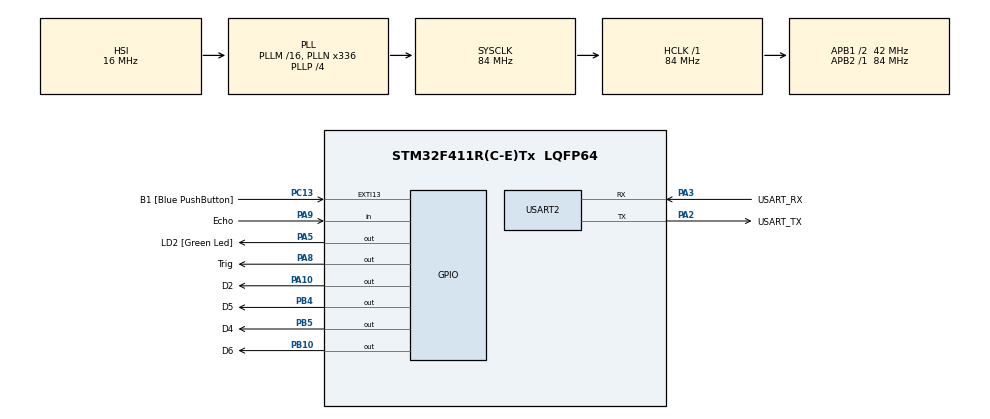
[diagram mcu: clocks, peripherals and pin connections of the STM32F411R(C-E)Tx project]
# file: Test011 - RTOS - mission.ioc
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FREERTOS.BinarySemaphores01=myBinarySem01,Dynamic,NULL
FREERTOS.Tasks01=myTask01,0,128,StartDefaultTask,Default,NULL,Dynamic,NULL,NULL;myTask02,-2,128,StartTask02,Default,NULL,Dynamic,NULL,NULL;myTask03,-3,128,StartTask03,Default,NULL,Dynamic,NULL,NULL;myTask04,-1,128,StartTask04,Default,NULL,Dynamic,NULL,NULL
FREERTOS.configUSE_NEWLIB_REENTRANT=1
Mcu.Family=STM32F4
Mcu.Name=STM32F411R(C-E)Tx
Mcu.Package=LQFP64
NVIC.EXTI15_10_IRQn=true\:5\:0\:false\:false\:true\:true\:true\:true\:true
NVIC.PriorityGroup=NVIC_PRIORITYGROUP_4
NVIC.TIM1_UP_TIM10_IRQn=true\:15\:0\:false\:false\:true\:false\:false\:true\:true
NVIC.TimeBase=TIM1_UP_TIM10_IRQn
NVIC.TimeBaseIP=TIM10
PA10.GPIO_Label=D2
PA10.Signal=GPIO_Output
PA13.GPIO_Label=TMS
PA13.Mode=Serial_Wire
PA13.Signal=SYS_JTMS-SWDIO
PA14.GPIO_Label=TCK
PA14.Mode=Serial_Wire
PA14.Signal=SYS_JTCK-SWCLK
PA2.GPIO_Label=USART_TX
PA2.Mode=Asynchronous
PA2.Signal=USART2_TX
PA3.GPIO_Label=USART_RX
PA3.Mode=Asynchronous
PA3.Signal=USART2_RX
PA5.GPIO_Label=LD2 [Green Led]
PA5.Signal=GPIO_Output
PA8.GPIO_Label=Trig
PA8.Signal=GPIO_Output
PA9.GPIO_Label=Echo
PA9.Signal=GPIO_Input
PB10.GPIO_Label=D6
PB10.Signal=GPIO_Output
PB3.GPIO_Label=SWO
PB3.Signal=SYS_JTDO-SWO
PB4.GPIO_Label=D5
PB4.Signal=GPIO_Output
PB5.GPIO_Label=D4
PB5.Signal=GPIO_Output
PC13-ANTI_TAMP.GPIO_Label=B1 [Blue PushButton]
PC13-ANTI_TAMP.GPIO_ModeDefaultEXTI=GPIO_MODE_IT_FALLING
PC13-ANTI_TAMP.Signal=GPXTI13
PC14-OSC32_IN.Mode=LSE-External-Oscillator
PC14-OSC32_IN.Signal=RCC_OSC32_IN
PC15-OSC32_OUT.Mode=LSE-External-Oscillator
PC15-OSC32_OUT.Signal=RCC_OSC32_OUT
PH0\ -\ OSC_IN.Mode=HSE-External-Clock-Source
PH0\ -\ OSC_IN.Signal=RCC_OSC_IN
PH1\ -\ OSC_OUT.Mode=HSE-External-Clock-Source
PH1\ -\ OSC_OUT.Signal=RCC_OSC_OUT
ProjectManager.HeapSize=0x200
ProjectManager.StackSize=0x400
ProjectManager.TargetToolchain=STM32CubeIDE
RCC.48MHZClocksFreq_Value=84000000
RCC.AHBFreq_Value=84000000
RCC.APB1CLKDivider=RCC_HCLK_DIV2
RCC.APB1Freq_Value=42000000
RCC.APB1TimFreq_Value=84000000
RCC.APB2Freq_Value=84000000
RCC.APB2TimFreq_Value=84000000
RCC.CortexFreq_Value=84000000
RCC.FLatency-AdvancedSettings=FLASH_LATENCY_2
RCC.HCLKFreq_Value=84000000
RCC.HSE_VALUE=8000000
RCC.HSI_VALUE=16000000
RCC.PLLN=336
RCC.PLLP=RCC_PLLP_DIV4
RCC.SYSCLKFreq_VALUE=84000000
RCC.SYSCLKSource=RCC_SYSCLKSOURCE_PLLCLK
RCC.VCOOutputFreq_Value=336000000
TIM2.Prescaler=84-1
USART2.VirtualMode=VM_ASYNC
VP_FREERTOS_VS_CMSIS_V1.Mode=CMSIS_V1
VP_SYS_VS_tim10.Mode=TIM10
VP_TIM2_VS_ClockSourceINT.Mode=Internal
board=NUCLEO-F411RE

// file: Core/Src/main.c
/* USER CODE BEGIN Header */
/**
  ******************************************************************************
  * @file           : main.c
  * @brief          : Main program body
  ******************************************************************************
  * @attention
  *
  * Copyright (c) 2025 STMicroelectronics.
  * All rights reserved.
  *
  * This software is licensed under terms that can be found in the LICENSE file
  * in the root directory of this software component.
  * If no LICENSE file comes with this software, it is provided AS-IS.
  *
  ******************************************************************************
  */
/* USER CODE END Header */
#include "main.h"
#include "cmsis_os.h"

TIM_HandleTypeDef htim2;

UART_HandleTypeDef huart2;

osThreadId myTask01Handle;
osThreadId myTask02Handle;
osThreadId myTask03Handle;
osThreadId myTask04Handle;
osSemaphoreId myBinarySem01Handle;

void SystemClock_Config(void);
static void MX_GPIO_Init(void);
static void MX_USART2_UART_Init(void);
static void MX_TIM2_Init(void);
void StartDefaultTask(void const * argument);
void StartTask02(void const * argument);
void StartTask03(void const * argument);
void StartTask04(void const * argument);

/* USER CODE BEGIN 0 */
volatile int angle = 0;
volatile double dist = 0;

/*void HAL_GPIO_EXTI_Callback(uint16_t GPIO_Pin)
{
	osSemaphoreRelease(myBinarySem01Handle);
}*/

void microDelay(int us) //us: micro second
{
	/*int t1 = htim2.Instance->CNT;
	while((htim2.Instance->CNT - t1)<us));*/

	htim2.Instance->CNT = 0;
	while(htim2.Instance->CNT <us);
}
void Trigger()
{
  HAL_GPIO_WritePin(Trig_GPIO_Port, Trig_Pin, 0);
  microDelay(10);
  HAL_GPIO_WritePin(Trig_GPIO_Port, Trig_Pin, 1);
  microDelay(10);
  HAL_GPIO_WritePin(Trig_GPIO_Port, Trig_Pin, 0);
  microDelay(10);
}

double Distance()
{
  int t0 = 0, t1, t2;
  htim2.Instance->CNT = 0;
  Trigger();
  //until wait echo high

  while(HAL_GPIO_ReadPin(Echo_GPIO_Port, Echo_Pin)==0);
  	  t1 = htim2.Instance->CNT;

  while(HAL_GPIO_ReadPin(Echo_GPIO_Port, Echo_Pin)==1);
  	  t2 = htim2.Instance->CNT;
  /*while(HAL_GPIO_ReadPin(Echo_GPIO_Port, Echo_Pin)==0)
    {
  	  if(htim2.Instance->CNT > 30000)return -1;//TimeOut

    }
    t1 = htim2.Instance->CNT;

 while(HAL_GPIO_ReadPin(Echo_GPIO_Port, Echo_Pin)==1)
	{
		  if((htim2.Instance->CNT )> (t1 + 30000))return -1;//TimeOut

	 }
    t2 = htim2.Instance->CNT;
*/
  double dist = (t2 - t1) * 0.17;
  return dist;
}
/* USER CODE END 0 */

int main(void)
{

  /* MCU Configuration--------------------------------------------------------*/

  /* Reset of all peripherals, Initializes the Flash interface and the Systick. */
  HAL_Init();

  /* Configure the system clock */
  SystemClock_Config();

  /* Initialize all configured peripherals */
  MX_GPIO_Init();
  MX_USART2_UART_Init();
  MX_TIM2_Init();

  /* Create the semaphores(s) */
  /* definition and creation of myBinarySem01 */
  osSemaphoreDef(myBinarySem01);
  myBinarySem01Handle = osSemaphoreCreate(osSemaphore(myBinarySem01), 1);

  /* Create the thread(s) */
  /* definition and creation of myTask01 */
  osThreadDef(myTask01, StartDefaultTask, osPriorityNormal, 0, 128);
  myTask01Handle = osThreadCreate(osThread(myTask01), NULL);

  /* definition and creation of myTask02 */
  osThreadDef(myTask02, StartTask02, osPriorityLow, 0, 128);
  myTask02Handle = osThreadCreate(osThread(myTask02), NULL);

  /* definition and creation of myTask03 */
  osThreadDef(myTask03, StartTask03, osPriorityIdle, 0, 128);
  myTask03Handle = osThreadCreate(osThread(myTask03), NULL);

  /* definition and creation of myTask04 */
  osThreadDef(myTask04, StartTask04, osPriorityBelowNormal, 0, 128);
  myTask04Handle = osThreadCreate(osThread(myTask04), NULL);

  /* USER CODE BEGIN RTOS_THREADS */
  /* add threads, ... */
  ProgramStart("RTOS Mission");
  HAL_TIM_Base_Start(&htim2);
  osSemaphoreRelease(myBinarySem01Handle);

  /* USER CODE END RTOS_THREADS */

  /* Start scheduler */
  osKernelStart();

  /* We should never get here as control is now taken by the scheduler */
  /* Infinite loop */
  while (1)
  {

  }
}

void SystemClock_Config(void)
{
  RCC_OscInitTypeDef RCC_OscInitStruct = {0};
  RCC_ClkInitTypeDef RCC_ClkInitStruct = {0};

  /** Configure the main internal regulator output voltage
  */
  __HAL_RCC_PWR_CLK_ENABLE();
  __HAL_PWR_VOLTAGESCALING_CONFIG(PWR_REGULATOR_VOLTAGE_SCALE1);

  /** Initializes the RCC Oscillators according to the specified parameters
  * in the RCC_OscInitTypeDef structure.
  */
  RCC_OscInitStruct.OscillatorType = RCC_OSCILLATORTYPE_HSI;
  RCC_OscInitStruct.HSIState = RCC_HSI_ON;
  RCC_OscInitStruct.HSICalibrationValue = RCC_HSICALIBRATION_DEFAULT;
  RCC_OscInitStruct.PLL.PLLState = RCC_PLL_ON;
  RCC_OscInitStruct.PLL.PLLSource = RCC_PLLSOURCE_HSI;
  RCC_OscInitStruct.PLL.PLLM = 16;
  RCC_OscInitStruct.PLL.PLLN = 336;
  RCC_OscInitStruct.PLL.PLLP = RCC_PLLP_DIV4;
  RCC_OscInitStruct.PLL.PLLQ = 4;
  if (HAL_RCC_OscConfig(&RCC_OscInitStruct) != HAL_OK)
  {
    Error_Handler();
  }

  /** Initializes the CPU, AHB and APB buses clocks
  */
  RCC_ClkInitStruct.ClockType = RCC_CLOCKTYPE_HCLK|RCC_CLOCKTYPE_SYSCLK
                              |RCC_CLOCKTYPE_PCLK1|RCC_CLOCKTYPE_PCLK2;
  RCC_ClkInitStruct.SYSCLKSource = RCC_SYSCLKSOURCE_PLLCLK;
  RCC_ClkInitStruct.AHBCLKDivider = RCC_SYSCLK_DIV1;
  RCC_ClkInitStruct.APB1CLKDivider = RCC_HCLK_DIV2;
  RCC_ClkInitStruct.APB2CLKDivider = RCC_HCLK_DIV1;

  if (HAL_RCC_ClockConfig(&RCC_ClkInitStruct, FLASH_LATENCY_2) != HAL_OK)
  {
    Error_Handler();
  }
}

static void MX_TIM2_Init(void)
{

  TIM_ClockConfigTypeDef sClockSourceConfig = {0};
  TIM_MasterConfigTypeDef sMasterConfig = {0};

  htim2.Instance = TIM2;
  htim2.Init.Prescaler = 84-1;
  htim2.Init.CounterMode = TIM_COUNTERMODE_UP;
  htim2.Init.Period = 4294967295;
  htim2.Init.ClockDivision = TIM_CLOCKDIVISION_DIV1;
  htim2.Init.AutoReloadPreload = TIM_AUTORELOAD_PRELOAD_DISABLE;
  if (HAL_TIM_Base_Init(&htim2) != HAL_OK)
  {
    Error_Handler();
  }
  sClockSourceConfig.ClockSource = TIM_CLOCKSOURCE_INTERNAL;
  if (HAL_TIM_ConfigClockSource(&htim2, &sClockSourceConfig) != HAL_OK)
  {
    Error_Handler();
  }
  sMasterConfig.MasterOutputTrigger = TIM_TRGO_RESET;
  sMasterConfig.MasterSlaveMode = TIM_MASTERSLAVEMODE_DISABLE;
  if (HAL_TIMEx_MasterConfigSynchronization(&htim2, &sMasterConfig) != HAL_OK)
  {
    Error_Handler();
  }

}

static void MX_USART2_UART_Init(void)
{

  huart2.Instance = USART2;
  huart2.Init.BaudRate = 115200;
  huart2.Init.WordLength = UART_WORDLENGTH_8B;
  huart2.Init.StopBits = UART_STOPBITS_1;
  huart2.Init.Parity = UART_PARITY_NONE;
  huart2.Init.Mode = UART_MODE_TX_RX;
  huart2.Init.HwFlowCtl = UART_HWCONTROL_NONE;
  huart2.Init.OverSampling = UART_OVERSAMPLING_16;
  if (HAL_UART_Init(&huart2) != HAL_OK)
  {
    Error_Handler();
  }

}

static void MX_GPIO_Init(void)
{
  GPIO_InitTypeDef GPIO_InitStruct = {0};

  /* GPIO Ports Clock Enable */
  __HAL_RCC_GPIOC_CLK_ENABLE();
  __HAL_RCC_GPIOH_CLK_ENABLE();
  __HAL_RCC_GPIOA_CLK_ENABLE();
  __HAL_RCC_GPIOB_CLK_ENABLE();

  /*Configure GPIO pin Output Level */
  HAL_GPIO_WritePin(GPIOA, LD2_Pin|Trig_Pin|D2_Pin, GPIO_PIN_RESET);

  /*Configure GPIO pin Output Level */
  HAL_GPIO_WritePin(GPIOB, D6_Pin|D5_Pin|D4_Pin, GPIO_PIN_RESET);

  /*Configure GPIO pin : B1_Pin */
  GPIO_InitStruct.Pin = B1_Pin;
  GPIO_InitStruct.Mode = GPIO_MODE_IT_FALLING;
  GPIO_InitStruct.Pull = GPIO_NOPULL;
  HAL_GPIO_Init(B1_GPIO_Port, &GPIO_InitStruct);

  /*Configure GPIO pins : LD2_Pin Trig_Pin D2_Pin */
  GPIO_InitStruct.Pin = LD2_Pin|Trig_Pin|D2_Pin;
  GPIO_InitStruct.Mode = GPIO_MODE_OUTPUT_PP;
  GPIO_InitStruct.Pull = GPIO_NOPULL;
  GPIO_InitStruct.Speed = GPIO_SPEED_FREQ_LOW;
  HAL_GPIO_Init(GPIOA, &GPIO_InitStruct);

  /*Configure GPIO pins : D6_Pin D5_Pin D4_Pin */
  GPIO_InitStruct.Pin = D6_Pin|D5_Pin|D4_Pin;
  GPIO_InitStruct.Mode = GPIO_MODE_OUTPUT_PP;
  GPIO_InitStruct.Pull = GPIO_NOPULL;
  GPIO_InitStruct.Speed = GPIO_SPEED_FREQ_LOW;
  HAL_GPIO_Init(GPIOB, &GPIO_InitStruct);

  /*Configure GPIO pin : Echo_Pin */
  GPIO_InitStruct.Pin = Echo_Pin;
  GPIO_InitStruct.Mode = GPIO_MODE_INPUT;
  GPIO_InitStruct.Pull = GPIO_NOPULL;
  HAL_GPIO_Init(Echo_GPIO_Port, &GPIO_InitStruct);

  /* EXTI interrupt init*/
  HAL_NVIC_SetPriority(EXTI15_10_IRQn, 5, 0);
  HAL_NVIC_EnableIRQ(EXTI15_10_IRQn);

}

void StartDefaultTask(void const * argument)
{
  /* USER CODE BEGIN 5 */
  /* Infinite loop */
  for(;;)
  {
	  if(osSemaphoreWait(myBinarySem01Handle , 0)==osOK)
	  {
		  printf("Task 01 (Normal)Ultra Sonic Sensor \r\n");
		  dist = Distance();
		  if(dist > 1000)
			  angle = 90;
		  else if((dist>100)&&(dist<1000))
			  angle = 60;
		  else if (dist<100)
			  angle = 30;

		  osSemaphoreRelease(myBinarySem01Handle);
	  }
    osDelay(1);
  }
  /* USER CODE END 5 */
}

void StartTask02(void const * argument)
{
  /* USER CODE BEGIN StartTask02 */
  /* Infinite loop */
  for(;;)
  {
	  if(osSemaphoreWait(myBinarySem01Handle , 0)==osOK)
	  {
		  printf("Task 02 (Low) Step Motor \r\n");
		  for(int i = 0; i < (512 * angle /360); i++)
		  {
			  // Step 1
			  //printf("i : %d \r\n" , i);
			  HAL_GPIO_WritePin(D2_GPIO_Port,D2_Pin,1);

			  HAL_GPIO_WritePin(D4_GPIO_Port,D4_Pin,0);

			  HAL_GPIO_WritePin(D5_GPIO_Port,D5_Pin,0);

			  HAL_GPIO_WritePin(D6_GPIO_Port,D6_Pin,0);

			  HAL_Delay(2);

			  //step2

			  HAL_GPIO_WritePin(D2_GPIO_Port,D2_Pin,0);

			  HAL_GPIO_WritePin(D4_GPIO_Port,D4_Pin,1);

			  HAL_GPIO_WritePin(D5_GPIO_Port,D5_Pin,0);

			  HAL_GPIO_WritePin(D6_GPIO_Port,D6_Pin,0);

			  HAL_Delay(2);

			  //step3

			  HAL_GPIO_WritePin(D2_GPIO_Port,D2_Pin,0);

			  HAL_GPIO_WritePin(D4_GPIO_Port,D4_Pin,0);

			  HAL_GPIO_WritePin(D5_GPIO_Port,D5_Pin,1);

			  HAL_GPIO_WritePin(D6_GPIO_Port,D6_Pin,0);

			  HAL_Delay(2);

			  //step4

			  HAL_GPIO_WritePin(D2_GPIO_Port,D2_Pin,0);

			  HAL_GPIO_WritePin(D4_GPIO_Port,D4_Pin,0);

			  HAL_GPIO_WritePin(D5_GPIO_Port,D5_Pin,0);

			  HAL_GPIO_WritePin(D6_GPIO_Port,D6_Pin,1);

			  HAL_Delay(2);

		  }
		  //printf(" 03  \r\n");
		  osSemaphoreRelease(myBinarySem01Handle);

	  }
    osDelay(1);
  }

  /* USER CODE END StartTask02 */
}

void StartTask03(void const * argument)
{
  /* USER CODE BEGIN StartTask03 */
  /* Infinite loop */

  for(;;)
  {

	  if(osSemaphoreWait(myBinarySem01Handle , 0)==osOK)
	  {
		  printf("Task 03 (IDLE) LED \r\n");
		  HAL_GPIO_WritePin(GPIOA,GPIO_PIN_5, 1);
		  HAL_Delay(100);
		  HAL_GPIO_WritePin(GPIOA,GPIO_PIN_5, 0);
		  HAL_Delay(100);

		  osSemaphoreRelease(myBinarySem01Handle);
	  }
	  osDelay(1);
  }
  /* USER CODE END StartTask03 */
}

void StartTask04(void const * argument)
{
  /* USER CODE BEGIN StartTask04 */
  /* Infinite loop */
  for(;;)
  {
	  if(osSemaphoreWait(myBinarySem01Handle , 0)==osOK)
	  {
		  printf("Task 04 (Below Normal)putty \r\n");
		  printf("Distance : %f\r\n",dist);
		  osSemaphoreRelease(myBinarySem01Handle);
	  }
	  osDelay(1);
  }
  /* USER CODE END StartTask04 */
}

void HAL_TIM_PeriodElapsedCallback(TIM_HandleTypeDef *htim)
{
  if (htim->Instance == TIM10) {
    HAL_IncTick();
  }
}

void Error_Handler(void)
{
  __disable_irq();
  while (1)
  {
  }
}
